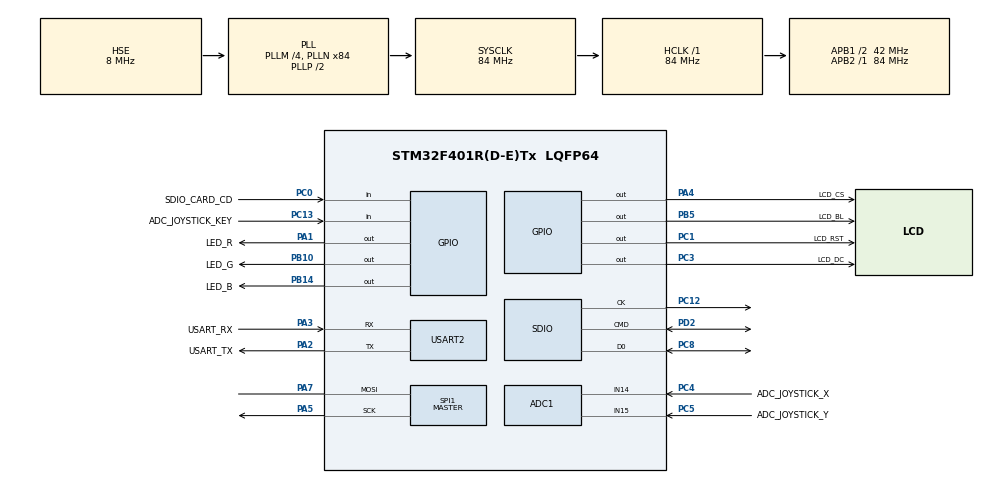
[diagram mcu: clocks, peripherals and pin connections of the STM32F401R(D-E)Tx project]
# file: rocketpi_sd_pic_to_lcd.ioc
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ADC1.Channel-0\#ChannelRegularConversion=ADC_CHANNEL_14
ADC1.Channel-1\#ChannelRegularConversion=ADC_CHANNEL_15
ADC1.ContinuousConvMode=ENABLE
ADC1.EnableAnalogWatchDog=false
ADC1.InjNumberOfConversion=0
ADC1.NbrOfConversion=2
ADC1.NbrOfConversionFlag=1
ADC1.Rank-0\#ChannelRegularConversion=1
ADC1.Rank-1\#ChannelRegularConversion=2
ADC1.SamplingTime-0\#ChannelRegularConversion=ADC_SAMPLETIME_112CYCLES
ADC1.SamplingTime-1\#ChannelRegularConversion=ADC_SAMPLETIME_112CYCLES
ADC1.ScanConvMode=ENABLE
ADC1.master=1
Dma.Request0=SPI1_TX
Dma.Request1=SDIO_RX
Dma.Request2=SDIO_TX
Dma.SDIO_RX.1.Direction=DMA_PERIPH_TO_MEMORY
Dma.SDIO_RX.1.FIFOMode=DMA_FIFOMODE_ENABLE
Dma.SDIO_RX.1.FIFOThreshold=DMA_FIFO_THRESHOLD_FULL
Dma.SDIO_RX.1.Instance=DMA2_Stream6
Dma.SDIO_RX.1.MemBurst=DMA_MBURST_INC4
Dma.SDIO_RX.1.MemDataAlignment=DMA_MDATAALIGN_WORD
Dma.SDIO_RX.1.MemInc=DMA_MINC_ENABLE
Dma.SDIO_RX.1.Mode=DMA_PFCTRL
Dma.SDIO_RX.1.PeriphBurst=DMA_PBURST_INC4
Dma.SDIO_RX.1.PeriphDataAlignment=DMA_PDATAALIGN_WORD
Dma.SDIO_RX.1.PeriphInc=DMA_PINC_DISABLE
Dma.SDIO_RX.1.Priority=DMA_PRIORITY_VERY_HIGH
Dma.SDIO_TX.2.Direction=DMA_MEMORY_TO_PERIPH
Dma.SDIO_TX.2.FIFOMode=DMA_FIFOMODE_ENABLE
Dma.SDIO_TX.2.FIFOThreshold=DMA_FIFO_THRESHOLD_FULL
Dma.SDIO_TX.2.Instance=DMA2_Stream3
Dma.SDIO_TX.2.MemBurst=DMA_MBURST_INC4
Dma.SDIO_TX.2.MemDataAlignment=DMA_MDATAALIGN_WORD
Dma.SDIO_TX.2.MemInc=DMA_MINC_ENABLE
Dma.SDIO_TX.2.Mode=DMA_PFCTRL
Dma.SDIO_TX.2.PeriphBurst=DMA_PBURST_INC4
Dma.SDIO_TX.2.PeriphDataAlignment=DMA_PDATAALIGN_WORD
Dma.SDIO_TX.2.PeriphInc=DMA_PINC_DISABLE
Dma.SDIO_TX.2.Priority=DMA_PRIORITY_VERY_HIGH
Dma.SPI1_TX.0.Direction=DMA_MEMORY_TO_PERIPH
Dma.SPI1_TX.0.FIFOMode=DMA_FIFOMODE_DISABLE
Dma.SPI1_TX.0.Instance=DMA2_Stream5
Dma.SPI1_TX.0.MemDataAlignment=DMA_MDATAALIGN_BYTE
Dma.SPI1_TX.0.MemInc=DMA_MINC_ENABLE
Dma.SPI1_TX.0.Mode=DMA_NORMAL
Dma.SPI1_TX.0.PeriphDataAlignment=DMA_PDATAALIGN_BYTE
Dma.SPI1_TX.0.PeriphInc=DMA_PINC_DISABLE
Dma.SPI1_TX.0.Priority=DMA_PRIORITY_HIGH
FATFS.BSP.number=1
FATFS.USE_DMA_CODE_SD=1
FATFS._LFN_UNICODE=0
FATFS._MAX_LFN=64
FATFS._STRF_ENCODE=3
FATFS._USE_LFN=2
FATFS0.BSP.STBoard=false
FATFS0.BSP.api=Unknown
FATFS0.BSP.instance=PC0
FATFS0.BSP.ip=GPIO
FATFS0.BSP.mode=Input
FATFS0.BSP.name=Detect_SDIO
FATFS0.BSP.solution=PC0
Mcu.Family=STM32F4
Mcu.Name=STM32F401R(D-E)Tx
Mcu.Package=LQFP64
NVIC.DMA2_Stream3_IRQn=true\:0\:0\:false\:false\:true\:false\:true\:true
NVIC.DMA2_Stream5_IRQn=true\:1\:0\:true\:false\:true\:false\:true\:true
NVIC.DMA2_Stream6_IRQn=true\:0\:0\:false\:false\:true\:false\:true\:true
NVIC.PriorityGroup=NVIC_PRIORITYGROUP_4
NVIC.SDIO_IRQn=true\:0\:0\:false\:false\:true\:true\:true\:true
NVIC.SPI1_IRQn=true\:1\:0\:true\:false\:true\:true\:true\:true
PA1.GPIO_Label=LED_R
PA1.Signal=GPIO_Output
PA13.GPIO_Label=TMS
PA13.Mode=Serial_Wire
PA13.Signal=SYS_JTMS-SWDIO
PA14.GPIO_Label=TCK
PA14.Mode=Serial_Wire
PA14.Signal=SYS_JTCK-SWCLK
PA2.GPIO_Label=USART_TX
PA2.GPIO_Mode=GPIO_MODE_AF_PP
PA2.GPIO_PuPd=GPIO_NOPULL
PA2.GPIO_Speed=GPIO_SPEED_FREQ_LOW
PA2.Mode=Asynchronous
PA2.Signal=USART2_TX
PA3.GPIO_Label=USART_RX
PA3.GPIO_Mode=GPIO_MODE_AF_PP
PA3.GPIO_PuPd=GPIO_NOPULL
PA3.GPIO_Speed=GPIO_SPEED_FREQ_LOW
PA3.Mode=Asynchronous
PA3.Signal=USART2_RX
PA4.GPIO_Label=LCD_CS
PA4.GPIO_Speed=GPIO_SPEED_FREQ_VERY_HIGH
PA4.PinState=GPIO_PIN_SET
PA4.Signal=GPIO_Output
PA5.Mode=Simplex_Bidirectional_Master
PA5.Signal=SPI1_SCK
PA7.Mode=Simplex_Bidirectional_Master
PA7.Signal=SPI1_MOSI
PB10.GPIO_Label=LED_G
PB10.Signal=GPIO_Output
PB14.GPIO_Label=LED_B
PB14.Signal=GPIO_Output
PB5.GPIO_Label=LCD_BL
PB5.Signal=GPIO_Output
PC0.GPIO_Label=SDIO_CARD_CD
PC0.Signal=GPIO_Input
PC1.GPIO_Label=LCD_RST
PC1.Signal=GPIO_Output
PC12.Mode=SD_1_bit
PC12.Signal=SDIO_CK
PC13-ANTI_TAMP.GPIO_Label=ADC_JOYSTICK_KEY
PC13-ANTI_TAMP.Signal=GPIO_Input
PC3.GPIO_Label=LCD_DC
PC3.Signal=GPIO_Output
PC4.GPIO_Label=ADC_JOYSTICK_X
PC4.Signal=ADCx_IN14
PC5.GPIO_Label=ADC_JOYSTICK_Y
PC5.Signal=ADCx_IN15
PC8.Mode=SD_1_bit
PC8.Signal=SDIO_D0
PD2.Mode=SD_1_bit
PD2.Signal=SDIO_CMD
PH0\ -\ OSC_IN.Mode=HSE-External-Oscillator
PH0\ -\ OSC_IN.Signal=RCC_OSC_IN
PH1\ -\ OSC_OUT.Mode=HSE-External-Oscillator
PH1\ -\ OSC_OUT.Signal=RCC_OSC_OUT
ProjectManager.HeapSize=0x1000
ProjectManager.StackSize=0x1000
ProjectManager.TargetToolchain=MDK-ARM V5.27
RCC.48MHZClocksFreq_Value=24000000
RCC.AHBFreq_Value=84000000
RCC.APB1CLKDivider=RCC_HCLK_DIV2
RCC.APB1Freq_Value=42000000
RCC.APB1TimFreq_Value=84000000
RCC.APB2Freq_Value=84000000
RCC.APB2TimFreq_Value=84000000
RCC.CortexFreq_Value=84000000
RCC.HCLKFreq_Value=84000000
RCC.HSE_VALUE=8000000
RCC.HSI_VALUE=16000000
RCC.LSE_VALUE=32768
RCC.PLLM=4
RCC.PLLN=84
RCC.PLLQ=7
RCC.PLLSourceVirtual=RCC_PLLSOURCE_HSE
RCC.SYSCLKFreq_VALUE=84000000
RCC.SYSCLKSource=RCC_SYSCLKSOURCE_PLLCLK
RCC.VCOOutputFreq_Value=168000000
SH.ADCx_IN14.0=ADC1_IN14,IN14
SH.ADCx_IN15.0=ADC1_IN15,IN15
SPI1.BaudRatePrescaler=SPI_BAUDRATEPRESCALER_2
SPI1.DataSize=SPI_DATASIZE_8BIT
SPI1.Direction=SPI_DIRECTION_1LINE
SPI1.Mode=SPI_MODE_MASTER
SPI1.VirtualType=VM_MASTER
USART2.VirtualMode=VM_ASYNC
VP_CRC_VS_CRC.Mode=CRC_Activate
VP_FATFS_VS_SDIO.Mode=SDIO
board=NUCLEO-F401RE

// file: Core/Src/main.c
/* USER CODE BEGIN Header */
/**
  ******************************************************************************
  * @file           : main.c
  * @brief          : Main program body
  ******************************************************************************
  * @attention
  *
  * Copyright (c) 2025 STMicroelectronics.
  * All rights reserved.
  *
  * This software is licensed under terms that can be found in the LICENSE file
  * in the root directory of this software component.
  * If no LICENSE file comes with this software, it is provided AS-IS.
  *
  ******************************************************************************
  */
/* USER CODE END Header */
#include "main.h"
#include "adc.h"
#include "dma.h"
#include "fatfs.h"
#include "sdio.h"
#include "spi.h"
#include "usart.h"
#include "gpio.h"

/* USER CODE BEGIN Includes */
#include <ctype.h>
#include <stdbool.h>
#include <stdarg.h>
#include <stdio.h>
#include <string.h>
#include "st7789.h"
/* USER CODE END Includes */

/* USER CODE BEGIN PTD */
#ifndef LCD_FRAME_NAME_MAX
#define LCD_FRAME_NAME_MAX 13U
#endif

typedef struct
{
  char name[LCD_FRAME_NAME_MAX];
} LCD_FrameEntry;
/* USER CODE END PTD */

/* USER CODE BEGIN PD */
#ifndef _USE_MKFS
#define _USE_MKFS 1
#endif

#if (_USE_MKFS == 1)
#define FATFS_MKFS_BUFFER_SIZE 4096U
#endif
#define FATFS_SPEED_TEST_BUFFER_SIZE 4096U

#define LCD_FRAME_DIRECTORY        "PIC_BIN"
#define LCD_FRAME_EXTENSION        ".bin"
#define LCD_FRAME_DELAY_MS         25U
#define LCD_FRAME_PATH_MAX         64U
#define LCD_FRAME_LINE_BYTES       (ST7789_WIDTH * 2U)
#define LCD_FRAME_ROWS             ST7789_HIGHT
#define LCD_FRAME_MAX_COUNT        600U
#define LCD_FRAME_BATCH_ROWS       120U
/* USER CODE END PD */

void SystemClock_Config(void);
/* USER CODE BEGIN PFP */
static void fatfs_test(void);
static void fatfs_speed_test(uint32_t kilobytes);
static void fatfs_playback_frames_optimized(void);
static void lcd_log_error(const char *fmt, ...);
static FRESULT lcd_build_frame_path(char *frame_path, size_t frame_path_size, const char *directory, const char *file_name);
static FRESULT lcd_draw_frame_batched(const char *directory,
                                    const char *file_name,
                                    uint8_t *batch_buffer,
                                    UINT batch_rows);
static FRESULT lcd_populate_frame_list(const char *directory,
                                     LCD_FrameEntry *entries,
                                     UINT max_entries,
                                     UINT *out_count);
/* USER CODE END PFP */

int main(void)
{

  /* MCU Configuration--------------------------------------------------------*/

  /* Reset of all peripherals, Initializes the Flash interface and the Systick. */
  HAL_Init();

  /* Configure the system clock */
  SystemClock_Config();

  /* Initialize all configured peripherals */
  MX_GPIO_Init();
  MX_DMA_Init();
  MX_USART2_UART_Init();
  MX_SPI1_Init();
  MX_ADC1_Init();
  MX_SDIO_SD_Init();
  MX_FATFS_Init();
  /* USER CODE BEGIN 2 */
  HAL_Delay(200);
  fatfs_test();
  const uint32_t speed_test_kbytes = 512U; /* Adjust size to profile different transfers */
  fatfs_speed_test(speed_test_kbytes);

  ST7789_Init();
  ST7789_Clear(BLACK);
  /* USER CODE END 2 */

  /* Infinite loop */
  while (1)
  {

    /* USER CODE BEGIN 3 */
    fatfs_playback_frames_optimized();
  }
  /* USER CODE END 3 */
}

void SystemClock_Config(void)
{
  RCC_OscInitTypeDef RCC_OscInitStruct = {0};
  RCC_ClkInitTypeDef RCC_ClkInitStruct = {0};

  /** Configure the main internal regulator output voltage
  */
  __HAL_RCC_PWR_CLK_ENABLE();
  __HAL_PWR_VOLTAGESCALING_CONFIG(PWR_REGULATOR_VOLTAGE_SCALE2);

  /** Initializes the RCC Oscillators according to the specified parameters
  * in the RCC_OscInitTypeDef structure.
  */
  RCC_OscInitStruct.OscillatorType = RCC_OSCILLATORTYPE_HSE;
  RCC_OscInitStruct.HSEState = RCC_HSE_ON;
  RCC_OscInitStruct.PLL.PLLState = RCC_PLL_ON;
  RCC_OscInitStruct.PLL.PLLSource = RCC_PLLSOURCE_HSE;
  RCC_OscInitStruct.PLL.PLLM = 4;
  RCC_OscInitStruct.PLL.PLLN = 84;
  RCC_OscInitStruct.PLL.PLLP = RCC_PLLP_DIV2;
  RCC_OscInitStruct.PLL.PLLQ = 7;
  if (HAL_RCC_OscConfig(&RCC_OscInitStruct) != HAL_OK)
  {
    Error_Handler();
  }

  /** Initializes the CPU, AHB and APB buses clocks
  */
  RCC_ClkInitStruct.ClockType = RCC_CLOCKTYPE_HCLK|RCC_CLOCKTYPE_SYSCLK
                              |RCC_CLOCKTYPE_PCLK1|RCC_CLOCKTYPE_PCLK2;
  RCC_ClkInitStruct.SYSCLKSource = RCC_SYSCLKSOURCE_PLLCLK;
  RCC_ClkInitStruct.AHBCLKDivider = RCC_SYSCLK_DIV1;
  RCC_ClkInitStruct.APB1CLKDivider = RCC_HCLK_DIV2;
  RCC_ClkInitStruct.APB2CLKDivider = RCC_HCLK_DIV1;

  if (HAL_RCC_ClockConfig(&RCC_ClkInitStruct, FLASH_LATENCY_2) != HAL_OK)
  {
    Error_Handler();
  }
}

/* USER CODE BEGIN 4 */
static bool lcd_is_bin_frame(const char *name)
{
  if ((name == NULL) || (name[0] == '\0') || (name[0] == '.'))
  {
    return false;
  }

  const size_t ext_len = strlen(LCD_FRAME_EXTENSION);
  const size_t name_len = strlen(name);
  if (name_len < ext_len)
  {
    return false;
  }

  const char *ext = name + name_len - ext_len;
  for (size_t i = 0U; i < ext_len; ++i)
  {
    const char lhs = (char)tolower((unsigned char)ext[i]);
    const char rhs = (char)tolower((unsigned char)LCD_FRAME_EXTENSION[i]);
    if (lhs != rhs)
    {
      return false;
    }
  }

  return true;
}

static void lcd_log_error(const char *fmt, ...)
{
  va_list args;
  va_start(args, fmt);
  vprintf(fmt, args);
  va_end(args);
  HAL_Delay(500U);
}

static FRESULT lcd_build_frame_path(char *frame_path, size_t frame_path_size, const char *directory, const char *file_name)
{
  int written = 0;
  if ((directory != NULL) && (directory[0] != '\0'))
  {
    written = snprintf(frame_path, frame_path_size, "%s/%s", directory, file_name);
  }
  else
  {
    written = snprintf(frame_path, frame_path_size, "%s", file_name);
  }

  if ((written <= 0) || ((size_t)written >= frame_path_size))
  {
    return FR_INVALID_NAME;
  }

  return FR_OK;
}

static FRESULT lcd_draw_frame_batched(const char *directory,
                                    const char *file_name,
                                    uint8_t *batch_buffer,
                                    UINT batch_rows)
{
  if ((batch_rows == 0U) || (batch_buffer == NULL))
  {
    return FR_INVALID_PARAMETER;
  }

  char frame_path[LCD_FRAME_PATH_MAX];
  FRESULT res = lcd_build_frame_path(frame_path, sizeof(frame_path), directory, file_name);
  if (res != FR_OK)
  {
    return res;
  }

  FIL frame_file;
  res = f_open(&frame_file, frame_path, FA_READ);
  if (res != FR_OK)
  {
    return res;
  }

  uint32_t row = 0U;
  while (row < LCD_FRAME_ROWS)
  {
    UINT rows_this = batch_rows;
    if (rows_this > (LCD_FRAME_ROWS - row))
    {
      rows_this = (UINT)(LCD_FRAME_ROWS - row);
    }

    UINT bytes_request = rows_this * LCD_FRAME_LINE_BYTES;
    UINT bytes_read = 0U;
    res = f_read(&frame_file, batch_buffer, bytes_request, &bytes_read);
    if ((res != FR_OK) || (bytes_read != bytes_request))
    {
      if (res == FR_OK)
      {
        res = FR_INT_ERR;
      }
      break;
    }

    ST7789_DrawBitmap(0U, (uint16_t)row, ST7789_WIDTH, rows_this, batch_buffer);
    row += rows_this;
  }

  f_close(&frame_file);
  return res;
}

static FRESULT lcd_populate_frame_list(const char *directory,
                                     LCD_FrameEntry *entries,
                                     UINT max_entries,
                                     UINT *out_count)
{
  if ((entries == NULL) || (out_count == NULL))
  {
    return FR_INVALID_PARAMETER;
  }

  DIR dir;
  FILINFO fno;
  FRESULT res = f_opendir(&dir, directory);
  if (res != FR_OK)
  {
    return res;
  }

  UINT count = 0U;
  while (1)
  {
    res = f_readdir(&dir, &fno);
    if (res != FR_OK)
    {
      break;
    }

    if (fno.fname[0] == '\0')
    {
      break;
    }

    if ((fno.fattrib & AM_DIR) != 0U)
    {
      continue;
    }

    if (!lcd_is_bin_frame(fno.fname))
    {
      continue;
    }

    if (count < max_entries)
    {
      strncpy(entries[count].name, fno.fname, LCD_FRAME_NAME_MAX - 1U);
      entries[count].name[LCD_FRAME_NAME_MAX - 1U] = '\0';
      count++;
    }
  }

  f_closedir(&dir);
  *out_count = count;
  return res;
}

static void fatfs_playback_frames_optimized(void)
{
  static LCD_FrameEntry s_frame_cache[LCD_FRAME_MAX_COUNT];
  static UINT s_frame_count = 0U;
  static uint8_t s_cache_valid = 0U;
  static uint8_t batch_buffer[LCD_FRAME_LINE_BYTES * LCD_FRAME_BATCH_ROWS];
  uint8_t is_mounted = 0U;
  FRESULT res;
  const char *dir_path = (LCD_FRAME_DIRECTORY[0] == '\0') ? "" : LCD_FRAME_DIRECTORY;

  res = f_mount(&SDFatFS, (TCHAR const*)SDPath, 1);
  if (res != FR_OK)
  {
    lcd_log_error("video(opt): mount failed (%d)\r\n", (int)res);
    return;
  }
  is_mounted = 1U;

  if (!s_cache_valid)
  {
    res = lcd_populate_frame_list(dir_path, s_frame_cache, LCD_FRAME_MAX_COUNT, &s_frame_count);
    if (res != FR_OK)
    {
      if (LCD_FRAME_DIRECTORY[0] == '\0')
      {
        lcd_log_error("video(opt): scan root failed (%d)\r\n", (int)res);
      }
      else
      {
        lcd_log_error("video(opt): scan %s failed (%d)\r\n", LCD_FRAME_DIRECTORY, (int)res);
      }
      goto cleanup;
    }

    if (s_frame_count == 0U)
    {
      if (LCD_FRAME_DIRECTORY[0] == '\0')
      {
        lcd_log_error("video(opt): no %s frames in root\r\n", LCD_FRAME_EXTENSION);
      }
      else
      {
        lcd_log_error("video(opt): no %s frames inside %s\r\n", LCD_FRAME_EXTENSION, LCD_FRAME_DIRECTORY);
      }
      goto cleanup;
    }

    if (LCD_FRAME_DIRECTORY[0] == '\0')
    {
      printf("video(opt): cached %lu frames from SD root\r\n", (unsigned long)s_frame_count);
    }
    else
    {
      printf("video(opt): cached %lu frames from /%s\r\n",
             (unsigned long)s_frame_count, LCD_FRAME_DIRECTORY);
    }
    s_cache_valid = 1U;
  }

  if (LCD_FRAME_DIRECTORY[0] == '\0')
  {
    printf("video(opt): streaming cached frames from SD root\r\n");
  }
  else
  {
    printf("video(opt): streaming cached frames from /%s\r\n", LCD_FRAME_DIRECTORY);
  }

  uint32_t cycle_start = HAL_GetTick();
  uint32_t frames_drawn = 0U;
  for (UINT idx = 0U; idx < s_frame_count; ++idx)
  {
    res = lcd_draw_frame_batched(dir_path, s_frame_cache[idx].name, batch_buffer, LCD_FRAME_BATCH_ROWS);
    if (res != FR_OK)
    {
      if (LCD_FRAME_DIRECTORY[0] == '\0')
      {
        lcd_log_error("video(opt): draw %s failed (%d)\r\n", s_frame_cache[idx].name, (int)res);
      }
      else
      {
        lcd_log_error("video(opt): draw %s/%s failed (%d)\r\n",
                     LCD_FRAME_DIRECTORY, s_frame_cache[idx].name, (int)res);
      }
      continue;
    }
    frames_drawn++;
    HAL_Delay(LCD_FRAME_DELAY_MS);
  }

  uint32_t elapsed_ms = HAL_GetTick() - cycle_start;
  if ((frames_drawn > 0U) && (elapsed_ms > 0U))
  {
    float fps = ((float)frames_drawn * 1000.0f) / (float)elapsed_ms;
    printf("video(opt): cycle %lu frames in %lums (%.2f FPS)\r\n",
           (unsigned long)frames_drawn,
           (unsigned long)elapsed_ms,
           fps);
  }

cleanup:
  if (is_mounted)
  {
    f_mount(NULL, (TCHAR const*)SDPath, 0);
  }
}

static void fatfs_speed_test(uint32_t kilobytes)
{
  const char speed_file[] = "sd_speed.bin";
  FRESULT res;
  UINT bytes_io = 0U;
  uint32_t total_bytes = 0U;
  uint32_t remaining = 0U;
  uint32_t start_tick = 0U;
  uint32_t elapsed_ms = 0U;
  uint32_t speed_kbs = 0U;
  uint8_t is_mounted = 0U;
  uint8_t file_opened = 0U;
  uint8_t file_created = 0U;
  static uint8_t transfer_buffer[FATFS_SPEED_TEST_BUFFER_SIZE];

  if (kilobytes == 0U)
  {
    printf("fatfs speed test: size parameter must be > 0\r\n");
    return;
  }

  if (kilobytes > (UINT32_MAX / 1024U))
  {
    printf("fatfs speed test: size too large\r\n");
    return;
  }

  total_bytes = kilobytes * 1024U;

  for (uint32_t i = 0U; i < sizeof(transfer_buffer); ++i)
  {
    transfer_buffer[i] = (uint8_t)(i & 0xFFU);
  }

  printf("fatfs speed test: mounting %s\r\n", SDPath);
  res = f_mount(&SDFatFS, (TCHAR const*)SDPath, 1);
  if (res != FR_OK)
  {
    printf("fatfs speed test: mount failed (%d)\r\n", (int)res);
    return;
  }
  is_mounted = 1U;

  res = f_open(&SDFile, speed_file, FA_CREATE_ALWAYS | FA_WRITE);
  if (res != FR_OK)
  {
    printf("fatfs speed test: open for write failed (%d)\r\n", (int)res);
    goto cleanup;
  }
  file_opened = 1U;
  file_created = 1U;

  printf("fatfs speed test: writing %lu KB\r\n", (unsigned long)kilobytes);
  remaining = total_bytes;
  start_tick = HAL_GetTick();
  while (remaining > 0U)
  {
    uint32_t chunk = (remaining > sizeof(transfer_buffer)) ? (uint32_t)sizeof(transfer_buffer) : remaining;
    res = f_write(&SDFile, transfer_buffer, chunk, &bytes_io);
    if ((res != FR_OK) || (bytes_io != chunk))
    {
      printf("fatfs speed test: write error (%d)\r\n", (int)res);
      goto cleanup;
    }
    remaining -= chunk;
  }

  res = f_sync(&SDFile);
  if (res != FR_OK)
  {
    printf("fatfs speed test: sync failed (%d)\r\n", (int)res);
    goto cleanup;
  }
  elapsed_ms = HAL_GetTick() - start_tick;
  speed_kbs = (elapsed_ms > 0U) ? (uint32_t)(((uint64_t)total_bytes * 1000ULL) / ((uint64_t)elapsed_ms * 1024ULL)) : 0U;
  printf("fatfs speed test: write done in %lu ms (%lu KB/s)\r\n",
         (unsigned long)elapsed_ms, (unsigned long)speed_kbs);

  f_close(&SDFile);
  file_opened = 0U;

  res = f_open(&SDFile, speed_file, FA_READ);
  if (res != FR_OK)
  {
    printf("fatfs speed test: open for read failed (%d)\r\n", (int)res);
    goto cleanup;
  }
  file_opened = 1U;

  printf("fatfs speed test: reading %lu KB\r\n", (unsigned long)kilobytes);
  remaining = total_bytes;
  start_tick = HAL_GetTick();
  while (remaining > 0U)
  {
    uint32_t chunk = (remaining > sizeof(transfer_buffer)) ? (uint32_t)sizeof(transfer_buffer) : remaining;
    res = f_read(&SDFile, transfer_buffer, chunk, &bytes_io);
    if (res != FR_OK)
    {
      printf("fatfs speed test: read error (%d)\r\n", (int)res);
      goto cleanup;
    }
    if (bytes_io == 0U)
    {
      printf("fatfs speed test: unexpected end of file\r\n");
      goto cleanup;
    }
    remaining -= bytes_io;
  }
  elapsed_ms = HAL_GetTick() - start_tick;
  speed_kbs = (elapsed_ms > 0U) ? (uint32_t)(((uint64_t)total_bytes * 1000ULL) / ((uint64_t)elapsed_ms * 1024ULL)) : 0U;
  printf("fatfs speed test: read done in %lu ms (%lu KB/s)\r\n",
         (unsigned long)elapsed_ms, (unsigned long)speed_kbs);

  f_close(&SDFile);
  file_opened = 0U;

  printf("fatfs speed test: removing %s\r\n", speed_file);
  res = f_unlink(speed_file);
  if (res == FR_OK)
  {
    file_created = 0U;
  }
  else
  {
    printf("fatfs speed test: remove failed (%d)\r\n", (int)res);
  }

cleanup:
  if (file_opened)
  {
    f_close(&SDFile);
  }

  if (is_mounted && file_created)
  {
    FRESULT unlink_res = f_unlink(speed_file);
    if (unlink_res != FR_OK)
    {
      printf("fatfs speed test: cleanup remove %s failed (%d)\r\n", speed_file, (int)unlink_res);
    }
  }

  if (is_mounted)
  {
    f_mount(NULL, (TCHAR const*)SDPath, 0);
    printf("fatfs speed test: unmounted\r\n");
  }
}

static void fatfs_test(void)
{
  const char test_file[] = "rocketpi.txt";
  const char test_payload[] = "RocketPi FATFS SDIO write/read demo.\r\n";
  char read_buffer[sizeof(test_payload)] = {0};
  const UINT payload_len = (UINT)strlen(test_payload);
  UINT bytes_written = 0;
  UINT bytes_read = 0;
  FRESULT res;
  uint8_t is_mounted = 0;
  uint8_t file_opened = 0;

  printf("fatfs: mounting %s\r\n", SDPath);
  res = f_mount(&SDFatFS, (TCHAR const*)SDPath, 1);
  if (res == FR_OK)
  {
    is_mounted = 1;
  }
  else if (res == FR_NO_FILESYSTEM)
  {
#if (_USE_MKFS == 1)
#if (FATFS_MKFS_BUFFER_SIZE < 1024U)
#error "FATFS_MKFS_BUFFER_SIZE must be >= 1024 bytes"
#endif
    static uint8_t mkfs_work[FATFS_MKFS_BUFFER_SIZE];

    printf("fatfs: no filesystem, formatting...\r\n");
    res = f_mkfs((TCHAR const*)SDPath, FM_ANY, 0, mkfs_work, sizeof(mkfs_work));
    if (res != FR_OK)
    {
      printf("fatfs: format failed (%d)\r\n", (int)res);
      return;
    }

    printf("fatfs: format complete, remounting\r\n");
    res = f_mount(&SDFatFS, (TCHAR const*)SDPath, 1);
    if (res != FR_OK)
    {
      printf("fatfs: mount after format failed (%d)\r\n", (int)res);
      return;
    }
    is_mounted = 1;
#else
    printf("fatfs: no filesystem and mkfs disabled\r\n");
    return;
#endif
  }
  else
  {
    printf("fatfs: mount failed (%d)\r\n", (int)res);
    return;
  }

  printf("fatfs: creating %s\r\n", test_file);
  res = f_open(&SDFile, test_file, FA_CREATE_ALWAYS | FA_WRITE);
  if (res != FR_OK)
  {
    printf("fatfs: open for write failed (%d)\r\n", (int)res);
    goto cleanup;
  }
  file_opened = 1;

  res = f_write(&SDFile, test_payload, payload_len, &bytes_written);
  if ((res != FR_OK) || (bytes_written != payload_len))
  {
    printf("fatfs: write failed (%d)\r\n", (int)res);
    goto cleanup;
  }
  printf("fatfs: wrote %lu bytes\r\n", (unsigned long)bytes_written);

  f_close(&SDFile);
  file_opened = 0;

  res = f_open(&SDFile, test_file, FA_READ);
  if (res != FR_OK)
  {
    printf("fatfs: open for read failed (%d)\r\n", (int)res);
    goto cleanup;
  }
  file_opened = 1;

  memset(read_buffer, 0, sizeof(read_buffer));
  res = f_read(&SDFile, read_buffer, sizeof(read_buffer) - 1, &bytes_read);
  if (res != FR_OK)
  {
    printf("fatfs: read failed (%d)\r\n", (int)res);
    goto cleanup;
  }
  printf("fatfs: read %lu bytes\r\n", (unsigned long)bytes_read);

  f_close(&SDFile);
  file_opened = 0;

  if ((bytes_read == bytes_written) && (strncmp(read_buffer, test_payload, payload_len) == 0))
  {
    printf("fatfs: verification OK\r\n");
    printf("fatfs: content: %s", read_buffer);
  }
  else
  {
    printf("fatfs: verification failed\r\n");
  }

cleanup:
  if (file_opened)
  {
    f_close(&SDFile);
  }

  if (is_mounted)
  {
    f_mount(NULL, (TCHAR const*)SDPath, 0);
    printf("fatfs: unmounted\r\n");
  }
}

/* USER CODE END 4 */

void Error_Handler(void)
{
  __disable_irq();
  while (1)
  {
  }
}
